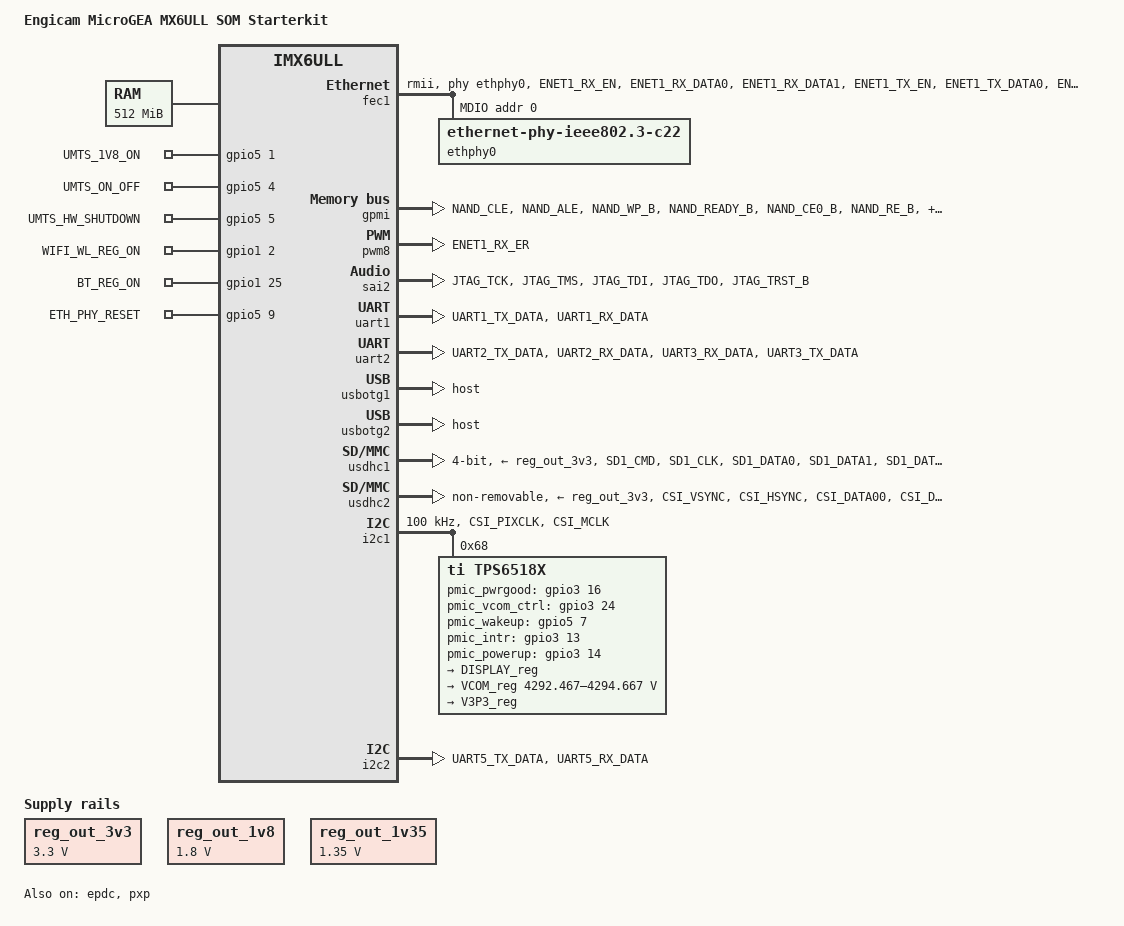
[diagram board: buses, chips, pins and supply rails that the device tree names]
/*
 * Copyright (C) 2015 Freescale Semiconductor, Inc.
 *
 * This program is free software; you can redistribute it and/or modify
 * it under the terms of the GNU General Public License version 2 as
 * published by the Free Software Foundation.
 */

/dts-v1/;

#include <dt-bindings/gpio/gpio.h>
#include <dt-bindings/input/input.h>
#include "imx6ull.dtsi"
#define NO_CODEC
/ {
	model = "Engicam MicroGEA MX6ULL SOM Starterkit";
	compatible = "fsl,imx6ull";

	chosen {
		stdout-path = &uart1;
	};

	memory {
		reg = <0x80000000 0x20000000>;
	};

	reserved-memory {
		#address-cells = <1>;
		#size-cells = <1>;
		ranges;

		linux,cma {
			compatible = "shared-dma-pool";
			reusable;
			size = <0x1000000>;
			linux,cma-default;
		};
	};

	gpio_export {
		compatible = "gpio-export";
		#size-cells = <0>;
		
		UMTS_1V8_ON {
			gpio-export,name = "UMTS_1V8_ON";
			gpio-export,input = <1>;
			gpios = <&gpio5 1 0>;
		};				
		UMTS_ON_OFF {
			gpio-export,name = "UMTS_ON_OFF";
			gpio-export,output = <1>;
			gpios = <&gpio5 4 0>;
		};				
		UMTS_HW_SHUTDOWN {
			gpio-export,name = "UMTS_HW_SHUTDOWN";
			gpio-export,output = <0>;
			gpios = <&gpio5 5 0>;
		};				
		WIFI_WL_REG_ON {
			gpio-export,name = "WIFI_WL_REG_ON";
			gpio-export,output = <1>;
			gpios = <&gpio1 2 0>;
		};				

		BT_REG_ON {
			gpio-export,name = "BT_REG_ON";
			gpio-export,output = <1>;
			gpios = <&gpio1 25 0>;
		};				
    
		ETH_PHY_RESET {
			gpio-export,name = "ETH_PHY_RESET";
			gpio-export,output = <1>;
			gpios = <&gpio5 9 0>;
		};			
	};


	pxp_v4l2 {
		compatible = "fsl,imx6ul-pxp-v4l2", "fsl,imx6sx-pxp-v4l2", "fsl,imx6sl-pxp-v4l2";
		status = "okay";
	};

	regulators {
		compatible = "simple-bus";
		#address-cells = <1>;
		#size-cells = <0>;

		reg_out_3v3: regulator@0 {
			compatible = "regulator-fixed";
			reg = <0>;
			regulator-name = "out-3v3";
			regulator-min-microvolt = <3300000>;
			regulator-max-microvolt = <3300000>;
		};

		reg_out_1v8: regulator@1 {
			compatible = "regulator-fixed";
			reg = <1>;
			regulator-name = "out-1v8";
			regulator-min-microvolt = <1800000>;
			regulator-max-microvolt = <1800000>;
		};
		
		reg_out_1v35: regulator@2 {
			compatible = "regulator-fixed";
			reg = <1>;
			regulator-name = "out-1v35";
			regulator-min-microvolt = <1350000>;
			regulator-max-microvolt = <1350000>;
		};

	};

#ifndef NO_CODEC
	sound {
		compatible = "fsl,imx6q-icore-sgtl5000",
			     "fsl,imx-audio-sgtl5000";
		model = "imx6q-icore-sgtl5000";
		cpu-dai = <&sai2>;
		audio-codec = <&codec>;
		asrc-controller = <&asrc>;
		codec-master;
		gpr = <&gpr>;
		audio-routing =
			"MIC_IN", "Mic Jack",
			"Mic Jack", "Mic Bias",
			"Headphone Jack", "HP_OUT";
	};
#endif
};

&cpu0 {
	/*
	 * on i.MX6ULL, no seperated VDD_ARM_IN and VDD_SOC_IN,
	 * to align with other platform and use the same cpufreq
	 * driver, still use the seperated OPP define for arm
	 * and soc.
	 */
	operating-points = <
		/* kHz	uV */
//		996000	1275000
		792000	1225000
		528000	1175000
		396000	1025000
		198000	950000
	>;
	fsl,soc-operating-points = <
		/* KHz	uV */
//		996000	1175000
		792000	1175000
		528000	1175000
		396000	1175000
		198000	1175000
	>;

	arm-supply = <&reg_arm>;
	soc-supply = <&reg_soc>;
};

&clks {
	assigned-clocks = <&clks IMX6UL_CLK_PLL4_AUDIO_DIV>;
	assigned-clock-rates = <786432000>;
};

&fec1 {
	pinctrl-names = "default";
	pinctrl-0 = <&pinctrl_enet1>;
	phy-mode = "rmii";
	phy-handle = <&ethphy0>;
	status = "okay";

	mdio {
		#address-cells = <1>;
		#size-cells = <0>;

		ethphy0: ethernet-phy@0 {
			compatible = "ethernet-phy-ieee802.3-c22";
			reg = <0>;
		};
	};

};


&gpc {
	fsl,cpu_pupscr_sw2iso = <0x2>;
	fsl,cpu_pupscr_sw = <0x1>;
	fsl,cpu_pdnscr_iso2sw = <0x1>;
	fsl,cpu_pdnscr_iso = <0x1>;
	fsl,wdog-reset = <1>; /* watchdog select of reset source */
	fsl,ldo-bypass = <0>; /* don't use ldo-bypass, u-boot will check it and configure */
};

&wdog1 {
	fsl,wdog_b;
};


&gpmi {
	pinctrl-names = "default";
	pinctrl-0 = <&pinctrl_gpmi_nand_1>;
	status = "okay";
	fsl,legacy-bch-geometry;
	nand-on-flash-bbt;
};

&epdc {
	pinctrl-names = "default";
	pinctrl-0 = <&pinctrl_epdc0>;
	V3P3-supply = <&V3P3_reg>;
	VCOM-supply = <&VCOM_reg>;
	DISPLAY-supply = <&DISPLAY_reg>;
        status = "okay";
};

&lcdif {
	pinctrl-names = "default";
	pinctrl-0 = <&pinctrl_lcdif_dat
		     &pinctrl_lcdif_ctrl>;
	display = <&display0>;
	status = "disabled";

	display0: display {
		bits-per-pixel = <16>;
		bus-width = <18>;

		display-timings {
			native-mode = <&timing0>;
			timing0: timing0 {
			clock-frequency = <28000000>;
			hactive = <800>;
			vactive = <480>;
			hfront-porch = <30>;
			hback-porch = <30>;
			hsync-len = <64>;
			vback-porch = <5>;
			vfront-porch = <5>;
			vsync-len = <20>;

			hsync-active = <0>;
			vsync-active = <0>;
			de-active = <1>;
			pixelclk-active = <0>;
			};
		};
	};
};


&pwm8 {
	pinctrl-names = "default";
	pinctrl-0 = <&pinctrl_pwm8>;
	status = "okay";
};

&pxp {
	status = "okay";
};

&sai2 {
	pinctrl-names = "default";
	pinctrl-0 = <&pinctrl_sai2>;
	status = "okay";
};


&uart1 {
	pinctrl-names = "default";
	pinctrl-0 = <&pinctrl_uart1>;
	status = "okay";
};

&uart2 {
	pinctrl-names = "default";
	pinctrl-0 = <&pinctrl_uart2>;
	//fsl,uart-has-rtscts;
	/* for DTE mode, add below change */
	/* fsl,dte-mode; */
	/* pinctrl-0 = <&pinctrl_uart2dte>; */
	status = "okay";
};

&uart8 {
	pinctrl-names = "default";
	pinctrl-0 = <&pinctrl_uart8>;
	fsl,uart-has-rtscts;
	status = "disabled";
};

&usbotg1 {
	dr_mode = "host";
	status = "okay";
};

&usbotg2 {
	dr_mode = "host";
	status = "okay";
};

&usdhc1 {
	pinctrl-names = "default";
#define GEAL_STARTERKIT_ADAPTER
/* GEAL_STARTERKIT_ADAPTER defined only if the EDIMM-L adapet is used */
#ifdef GEAL_STARTERKIT_ADAPTER
	pinctrl-0 = <&pinctrl_usdhc1_100mhz>;
	bus-width = <1>;
#else
	pinctrl-0 = <&pinctrl_usdhc1>;
	bus-width = <4>;
#endif
	cd-gpios = <&gpio1 19 GPIO_ACTIVE_LOW>;
	vmmc-supply = <&reg_out_3v3>;
	bus-width = <4>;
	enable-sdio-wakeup;
	keep-power-in-suspend;
	status = "okay";
};


&usdhc2 {
	pinctrl-names = "default";
	pinctrl-0 = <&pinctrl_usdhc2>;
	no-1-8-v;
	vmmc-supply = <&reg_out_3v3>;
	keep-power-in-suspend;
	non-removable;
	status = "okay";
};

&i2c1 {
	clock-frequency = <100000>;
	pinctrl-names = "default";
	pinctrl-0 = <&pinctrl_i2c1>;
	status = "okay";

#ifndef NO_CODEC
	codec: sgtl5000@0a {
		compatible = "fsl,sgtl5000";
		reg = <0x0a>;
		clocks = <&clks IMX6UL_CLK_OSC>;
		clock-names = "mclk";
		wlf,shared-lrclk;
		VDDA-supply = <&reg_out_3v3>;
		VDDIO-supply = <&reg_out_3v3>;
		VDDD-supply = <&reg_out_1v8>;
	};
#endif

	tps6518x@68 {
		compatible = "ti,tps6518x";
		reg = <0x68>;
		/*
		 * power sequencing for TPS65180/65181
		 */
		pwr_seq0 = <0xe1>; /* [Vddh-seq=3 | Vpos-seq=2 | Vee-seq=0 | Vneg-seq=1] */
		pwr_seq1 = <0x30>; /* [Vneg-dly1=3 |Vee-dly0=0]  mSec */
		pwr_seq2 = <0x33>; /* [Vddh-dly3=3 | Vpos-dly2=3] mSec */
		/*
		 * power sequencing for TPS65185/65186
		 */
		upseq0 = <0xe4>; //<0xe4>;
		upseq1 = <0x03>; //<0x55>;
		dwnseq0 = <0x1e>; // <0x1e>;
		dwnseq1 = <0xe0>; // <0xe0>;

		gpio_pmic_pwrgood = <&gpio3 16 0>;
		gpio_pmic_vcom_ctrl = <&gpio3 24 0>;
		gpio_pmic_wakeup = <&gpio5 7 0>;
		gpio_pmic_intr = <&gpio3 13 0>;
		gpio_pmic_powerup = <&gpio3 14 0>;

		regulators {
			DISPLAY_reg: DISPLAY {
				regulator-name = "DISPLAY";
			};

			VCOM_reg: VCOM {
				regulator-name = "VCOM";
#if 0
				/* 2's-compliment, -4325000 */
				regulator-min-microvolt = <0xffbe0178>;
				/* 2's-compliment, -500000 */
				regulator-max-microvolt = <0xfff85ee0>;
#endif
#if 1
				/* 2's-compliment, -2500000 */
				regulator-min-microvolt = <0xFFD9DA60>;
				/* 2's-compliment, -300000 */
				regulator-max-microvolt = <0xFFFB6C20>;
#endif
			};

			V3P3_reg: V3P3 {
				regulator-name = "V3P3";
			};
		};
	};

};

&i2c2 {
	clock_frequency = <100000>;
	pinctrl-names = "default";
	pinctrl-0 = <&pinctrl_i2c2>;
	status = "okay";
};


&iomuxc {
	pinctrl-names = "default";
	pinctrl-0 = <&pinctrl_hog_1>;
	imx6ul-evk {
		pinctrl_hog_1: hoggrp-1 {
			fsl,pins = <
				MX6UL_PAD_UART1_RTS_B__GPIO1_IO19  0x17059 /*CD sdhc1 */
				MX6UL_PAD_LCD_DATA09__GPIO3_IO14   0x1b0b0  /* TPS65185 POWERUP */								
				MX6UL_PAD_SNVS_TAMPER7__GPIO5_IO07 0x1b0b0  /* TPS65185 WAKEUP  */								
				MX6UL_PAD_LCD_DATA08__GPIO3_IO13   0x1b0b0  /* TPS65185 INT */								
				MX6UL_PAD_LCD_DATA11__GPIO3_IO16   0x1b0b0  /* TPS65185 POWERGOOD */								
				MX6UL_PAD_LCD_DATA19__GPIO3_IO24   0x1b0b0  /* TPS65185 VCOM_CTRL */	

				MX6UL_PAD_SNVS_TAMPER1__GPIO5_IO01 0x1b0b0  /* UMTS 1.8V POWER ON  */							
				MX6UL_PAD_SNVS_TAMPER4__GPIO5_IO04 0x1b0b0  /* UMTS ON/OFF  */							
				MX6UL_PAD_SNVS_TAMPER5__GPIO5_IO05 0x1b0b0  /* UMTS SHUTDOWN  */

				MX6UL_PAD_GPIO1_IO02__GPIO1_IO02     0x1b0b0  /* WL_REG_ON  */							
				MX6UL_PAD_UART3_RX_DATA__GPIO1_IO25     0x1b0b0  /* BT_REG_ON  */						
				MX6UL_PAD_SNVS_TAMPER9__GPIO5_IO09 0x1b0b0  	/* ENET Reset */
			>;
		};

		pinctrl_enet1: enet1grp {
			fsl,pins = <
				MX6UL_PAD_ENET1_RX_EN__ENET1_RX_EN	0x1b0b0
				MX6UL_PAD_ENET1_RX_DATA0__ENET1_RDATA00	0x1b0b0
				MX6UL_PAD_ENET1_RX_DATA1__ENET1_RDATA01	0x1b0b0
				MX6UL_PAD_ENET1_TX_EN__ENET1_TX_EN	0x1b0b0
				MX6UL_PAD_ENET1_TX_DATA0__ENET1_TDATA00	0x1b0b0
				MX6UL_PAD_ENET1_TX_DATA1__ENET1_TDATA01	0x1b0b0
				MX6UL_PAD_ENET1_TX_CLK__ENET1_REF_CLK1	0x4001b031
				MX6UL_PAD_GPIO1_IO07__ENET1_MDC		0x1b0b0
				MX6UL_PAD_GPIO1_IO06__ENET1_MDIO	0x1b0b0
			>;
		};

		pinctrl_enet2: enet2grp {
			fsl,pins = <
				MX6UL_PAD_ENET2_RX_EN__ENET2_RX_EN	0x1b0b0
				MX6UL_PAD_ENET2_RX_ER__GPIO2_IO15	0x1b0b0		/* ENET_nRST */
				MX6UL_PAD_ENET2_RX_DATA0__ENET2_RDATA00	0x1b0b0
				MX6UL_PAD_ENET2_RX_DATA1__ENET2_RDATA01	0x1b0b0
				MX6UL_PAD_ENET2_TX_EN__ENET2_TX_EN	0x1b0b0
				MX6UL_PAD_ENET2_TX_DATA0__ENET2_TDATA00	0x1b0b0
				MX6UL_PAD_ENET2_TX_DATA1__ENET2_TDATA01	0x1b0b0
				MX6UL_PAD_GPIO1_IO05__ENET2_REF_CLK2	0x4001b031
			>;
		};

		pinctrl_flexcan1: flexcan1grp{
			fsl,pins = <
				MX6UL_PAD_UART3_RTS_B__FLEXCAN1_RX	0x1b020
				MX6UL_PAD_UART3_CTS_B__FLEXCAN1_TX	0x1b020
			>;
		};


		pinctrl_flexcan2: flexcan2grp{
			fsl,pins = <
				MX6UL_PAD_UART2_RTS_B__FLEXCAN2_RX	0x1b020
				MX6UL_PAD_UART2_CTS_B__FLEXCAN2_TX	0x1b020
			>;
		};


		pinctrl_gpmi_nand_1: gpmi-nand-1 {
			fsl,pins = <
				MX6UL_PAD_NAND_CLE__RAWNAND_CLE         0xb0b1
				MX6UL_PAD_NAND_ALE__RAWNAND_ALE         0xb0b1
				MX6UL_PAD_NAND_WP_B__RAWNAND_WP_B       0xb0b1
				MX6UL_PAD_NAND_READY_B__RAWNAND_READY_B 0xb000
				MX6UL_PAD_NAND_CE0_B__RAWNAND_CE0_B     0xb0b1
				MX6UL_PAD_NAND_RE_B__RAWNAND_RE_B       0xb0b1
				MX6UL_PAD_NAND_WE_B__RAWNAND_WE_B       0xb0b1
				MX6UL_PAD_NAND_DATA00__RAWNAND_DATA00   0xb0b1
				MX6UL_PAD_NAND_DATA01__RAWNAND_DATA01   0xb0b1
				MX6UL_PAD_NAND_DATA02__RAWNAND_DATA02   0xb0b1
				MX6UL_PAD_NAND_DATA03__RAWNAND_DATA03   0xb0b1
				MX6UL_PAD_NAND_DATA04__RAWNAND_DATA04   0xb0b1
				MX6UL_PAD_NAND_DATA05__RAWNAND_DATA05   0xb0b1
				MX6UL_PAD_NAND_DATA06__RAWNAND_DATA06   0xb0b1
				MX6UL_PAD_NAND_DATA07__RAWNAND_DATA07   0xb0b1
			>;
		};

		pinctrl_lcdif_dat: lcdifdatgrp {
			fsl,pins = <
				MX6UL_PAD_LCD_DATA00__LCDIF_DATA00  0x79
				MX6UL_PAD_LCD_DATA01__LCDIF_DATA01  0x79
				MX6UL_PAD_LCD_DATA02__LCDIF_DATA02  0x79
				MX6UL_PAD_LCD_DATA03__LCDIF_DATA03  0x79
				MX6UL_PAD_LCD_DATA04__LCDIF_DATA04  0x79
				MX6UL_PAD_LCD_DATA05__LCDIF_DATA05  0x79
				MX6UL_PAD_LCD_DATA06__LCDIF_DATA06  0x79
				MX6UL_PAD_LCD_DATA07__LCDIF_DATA07  0x79
				MX6UL_PAD_LCD_DATA08__LCDIF_DATA08  0x79
				MX6UL_PAD_LCD_DATA09__LCDIF_DATA09  0x79
				MX6UL_PAD_LCD_DATA10__LCDIF_DATA10  0x79
				MX6UL_PAD_LCD_DATA11__LCDIF_DATA11  0x79
				MX6UL_PAD_LCD_DATA12__LCDIF_DATA12  0x79
				MX6UL_PAD_LCD_DATA13__LCDIF_DATA13  0x79
				MX6UL_PAD_LCD_DATA14__LCDIF_DATA14  0x79
				MX6UL_PAD_LCD_DATA15__LCDIF_DATA15  0x79
				MX6UL_PAD_LCD_DATA16__LCDIF_DATA16  0x79
				MX6UL_PAD_LCD_DATA17__LCDIF_DATA17  0x79

			>;
		};

		pinctrl_lcdif_ctrl: lcdifctrlgrp {
			fsl,pins = <
				MX6UL_PAD_LCD_CLK__LCDIF_CLK	    0x79
				MX6UL_PAD_LCD_ENABLE__LCDIF_ENABLE  0x79
				MX6UL_PAD_LCD_HSYNC__LCDIF_HSYNC    0x79
				MX6UL_PAD_LCD_VSYNC__LCDIF_VSYNC    0x79
			>;
		};

		pinctrl_pwm8: pwm8grp {
			fsl,pins = <
				MX6UL_PAD_ENET1_RX_ER__PWM8_OUT   0x110b0
			>;
		};

		pinctrl_uart1: uart1grp {
			fsl,pins = <
				MX6UL_PAD_UART1_TX_DATA__UART1_DCE_TX 0x1b0b1
				MX6UL_PAD_UART1_RX_DATA__UART1_DCE_RX 0x1b0b1
			>;
		};

		pinctrl_uart2: uart2grp {
			fsl,pins = <
				MX6UL_PAD_UART2_TX_DATA__UART2_DCE_TX	0x1b0b1
				MX6UL_PAD_UART2_RX_DATA__UART2_DCE_RX	0x1b0b1
				MX6UL_PAD_UART3_RX_DATA__UART2_DCE_RTS	0x1b0b1
				MX6UL_PAD_UART3_TX_DATA__UART2_DCE_CTS	0x1b0b1
			>;
		};

		pinctrl_uart8: uart8grp {
				fsl,pins = <
				MX6UL_PAD_LCD_DATA20__UART8_DCE_TX	0x1b0b1
				MX6UL_PAD_LCD_DATA21__UART8_DCE_RX	0x1b0b1
				MX6UL_PAD_ENET2_TX_CLK__UART8_DCE_CTS	0x1b0b0
			>;
		};

		pinctrl_uart2dte: uart2dtegrp {
			fsl,pins = <
				MX6UL_PAD_UART2_TX_DATA__UART2_DTE_RX	0x1b0b1
				MX6UL_PAD_UART2_RX_DATA__UART2_DTE_TX	0x1b0b1
				MX6UL_PAD_UART3_RX_DATA__UART2_DTE_CTS	0x1b0b1
				MX6UL_PAD_UART3_TX_DATA__UART2_DTE_RTS	0x1b0b1
			>;
		};

		pinctrl_usdhc1: usdhc1grp {
			fsl,pins = <
				MX6UL_PAD_SD1_CMD__USDHC1_CMD     0x17059
				MX6UL_PAD_SD1_CLK__USDHC1_CLK     0x10059
				MX6UL_PAD_SD1_DATA0__USDHC1_DATA0 0x17059
				MX6UL_PAD_SD1_DATA1__USDHC1_DATA1 0x17059
				MX6UL_PAD_SD1_DATA2__USDHC1_DATA2 0x17059
				MX6UL_PAD_SD1_DATA3__USDHC1_DATA3 0x17059
			>;
		};

		pinctrl_usdhc1_100mhz: usdhc1grp100mhz {
			fsl,pins = <
				MX6UL_PAD_SD1_CMD__USDHC1_CMD     0x170b9
				MX6UL_PAD_SD1_CLK__USDHC1_CLK     0x100b9
				MX6UL_PAD_SD1_DATA0__USDHC1_DATA0 0x170b9
				MX6UL_PAD_SD1_DATA1__USDHC1_DATA1 0x170b9
				MX6UL_PAD_SD1_DATA2__USDHC1_DATA2 0x170b9
				MX6UL_PAD_SD1_DATA3__USDHC1_DATA3 0x170b9
			>;
		};

		pinctrl_usdhc1_200mhz: usdhc1grp200mhz {
			fsl,pins = <
				MX6UL_PAD_SD1_CMD__USDHC1_CMD     0x170f9
				MX6UL_PAD_SD1_CLK__USDHC1_CLK     0x100f9
				MX6UL_PAD_SD1_DATA0__USDHC1_DATA0 0x170f9
				MX6UL_PAD_SD1_DATA1__USDHC1_DATA1 0x170f9
				MX6UL_PAD_SD1_DATA2__USDHC1_DATA2 0x170f9
				MX6UL_PAD_SD1_DATA3__USDHC1_DATA3 0x170f9
			>;
		};

		pinctrl_usdhc2: usdhc2grp {
			fsl,pins = <
				MX6UL_PAD_CSI_VSYNC__USDHC2_CLK     0x17070
				MX6UL_PAD_CSI_HSYNC__USDHC2_CMD     0x10070
				MX6UL_PAD_CSI_DATA00__USDHC2_DATA0  0x17070
				MX6UL_PAD_CSI_DATA01__USDHC2_DATA1  0x17070
				MX6UL_PAD_CSI_DATA02__USDHC2_DATA2  0x17070
				MX6UL_PAD_CSI_DATA03__USDHC2_DATA3  0x17070
			>;
		};


		pinctrl_i2c1: i2c1grp {
			fsl,pins = <
				MX6UL_PAD_CSI_PIXCLK__I2C1_SCL 0x4001b8b0
				MX6UL_PAD_CSI_MCLK__I2C1_SDA 0x4001b8b0
			>;
		};

		pinctrl_i2c2: i2c2grp {
			fsl,pins = <
				MX6UL_PAD_UART5_TX_DATA__I2C2_SCL 0x4001b8b0
				MX6UL_PAD_UART5_RX_DATA__I2C2_SDA 0x4001b8b0
			>;
		};

		pinctrl_ecspi: ecspigrp {
			fsl,pins = <
				MX6UL_PAD_CSI_DATA04__ECSPI1_SCLK      	0x70a1
				MX6UL_PAD_CSI_DATA05__ECSPI1_SS0 	0x70a1
				MX6UL_PAD_CSI_DATA06__ECSPI1_MOSI   	0x70a1
				MX6UL_PAD_CSI_DATA07__ECSPI1_MISO   	0x70a1
			>;
		};

		pinctrl_sai2: sai2grp {
			fsl,pins = <
				MX6UL_PAD_JTAG_TCK__SAI2_RX_DATA	0x130b0
				MX6UL_PAD_JTAG_TMS__CCM_CLKO1		0x4001b031
				MX6UL_PAD_JTAG_TDI__SAI2_TX_BCLK	0x17088
				MX6UL_PAD_JTAG_TDO__SAI2_TX_SYNC	0x17088
				MX6UL_PAD_JTAG_TRST_B__SAI2_TX_DATA	0x120b0
			>;
		};

               pinctrl_epdc0: epdcgrp0 {
                        fsl,pins = <
				MX6UL_PAD_ENET2_RX_DATA0__EPDC_SDDO08                    0x10b1
				MX6UL_PAD_ENET2_RX_DATA1__EPDC_SDDO09                    0x10b1
				MX6UL_PAD_ENET2_RX_EN__EPDC_SDDO10                       0x10b1
				MX6UL_PAD_ENET2_TX_DATA0__EPDC_SDDO11                    0x10b1
				MX6UL_PAD_ENET2_TX_DATA1__EPDC_SDDO12                    0x10b1
				MX6UL_PAD_ENET2_TX_EN__EPDC_SDDO13                       0x10b1
				MX6UL_PAD_ENET2_TX_CLK__EPDC_SDDO14                      0x10b1
				MX6UL_PAD_ENET2_RX_ER__EPDC_SDDO15                       0x10b1
				MX6UL_PAD_LCD_CLK__EPDC_SDCLK                            0x10b1
				MX6UL_PAD_LCD_ENABLE__EPDC_SDLE                          0x10b1
				MX6UL_PAD_LCD_HSYNC__EPDC_SDOE                           0x10b1
				MX6UL_PAD_LCD_VSYNC__EPDC_SDCE0                          0x10b1
				MX6UL_PAD_LCD_DATA00__EPDC_SDDO00                        0x10b1
				MX6UL_PAD_LCD_DATA01__EPDC_SDDO01                        0x10b1
				MX6UL_PAD_LCD_DATA02__EPDC_SDDO02                        0x10b1
				MX6UL_PAD_LCD_DATA03__EPDC_SDDO03                        0x10b1
				MX6UL_PAD_LCD_DATA04__EPDC_SDDO04                        0x10b1
				MX6UL_PAD_LCD_DATA05__EPDC_SDDO05                        0x10b1
				MX6UL_PAD_LCD_DATA06__EPDC_SDDO06                        0x10b1
				MX6UL_PAD_LCD_DATA07__EPDC_SDDO07                        0x10b1
				MX6UL_PAD_LCD_DATA14__EPDC_SDSHR                         0x10b1
				MX6UL_PAD_LCD_DATA15__EPDC_GDRL                          0x10b1
				MX6UL_PAD_LCD_DATA16__EPDC_GDCLK                         0x10b1
				MX6UL_PAD_LCD_DATA17__EPDC_GDSP                          0x10b1
				MX6UL_PAD_LCD_RESET__EPDC_GDOE                           0x10b1
                        >;
                };

	};
};

&iomuxc {
	touchpanel{
		pinctrl_stmpe_ts:  stmpe-tsgrp  {
			fsl,pins = <
				MX6UL_PAD_LCD_RESET__GPIO3_IO04 0x1b0b0 /*interrupt*/ 
			>;
		};
	};
};
